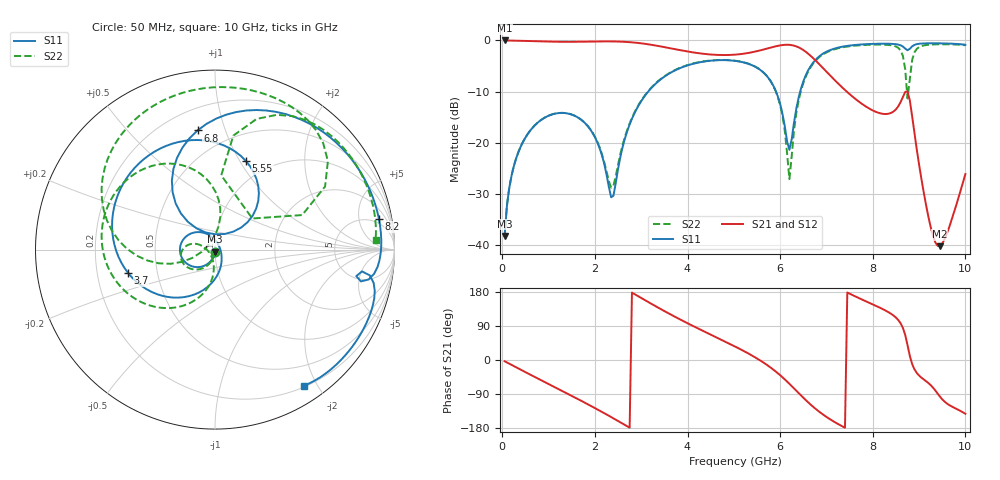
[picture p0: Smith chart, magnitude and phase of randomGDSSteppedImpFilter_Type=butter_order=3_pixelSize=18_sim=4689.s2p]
! freq	dB(S11)	phase(S11)	dB(S12)	phase(S12)
!  dB(S21)	phase(S21)	dB(S22)	phase(S22)
!S-par simulation data
#  GHz  S  DB  R 50
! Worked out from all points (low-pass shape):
!   200 points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, 50 MHz to 10 GHz, reference 50 ohm
!   highest |S21| = -0.01 dB at 50 MHz (marker M1); lowest = -40.2 dB at 9.45 GHz (marker M2)
!   |S21| within 3 dB of the highest: start of sweep to 6.657 GHz
!   lowest |S11| = -38.3 dB at 50 MHz (marker M3), VSWR 1.02, Z = 49.9 - j1.22 ohm
!   |S11| at or under -10 dB: start of sweep to 3.152 GHz; 5.909 GHz to 6.433 GHz (523.8 MHz wide, 8.49 % of centre)
!   |S22| runs from -38.3 to -0.7 dB; largest |S21 - S12| = 0
!   S11 on the Smith chart (normalised r, x): 50 MHz: 1.00, -0.02; 3.7 GHz: 0.34, -0.12; 5.55 GHz: 0.78, +1.06; 6.8 GHz: 0.33, +0.81; 8.2 GHz: 3.70, +9.28; 10 GHz: 0.22, -1.83
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0.05  -38.26 -92.4  -0.01 -3.3  -0.01 -3.3  -38.25 -91.8
0.2  -26.43 -103.9  -0.03 -12.9  -0.03 -12.9  -26.42 -101.7
0.55  -18.29 -128.6  -0.11 -35.2  -0.11 -35.2  -18.28 -122.7
1.75  -15.87 146.1  -0.25 -110.6  -0.25 -110.6  -15.84 172.7
2.35  -30.68 36.5  -0.19 -150.5  -0.19 -150.5  -28.80 -154.6
3.4  -7.76 -142.8  -1.14 135.8  -1.14 135.8  -7.69 -127.9
3.7  -5.99 -165.1  -1.66 115.9  -1.66 115.9  -5.93 -144.8
5.05  -4.03 105.5  -2.76 34.2  -2.76 34.2  -3.99 144.2
5.55  -5.63 70.7  -1.99 0.3  -1.99 0.3  -5.62 114.5
6  -12.44 40.1  -0.97 -40.1  -0.97 -40.1  -12.63 82.8
6.2  -21.40 88.3  -0.87 -62.8  -0.87 -62.8  -27.12 136.2
6.4  -11.14 133.3  -1.36 -87.3  -1.36 -87.3  -11.70 -162.3
6.7  -4.49 107.7  -3.36 -122.2  -3.36 -122.2  -4.68 169.7
6.8  -3.47 98.3  -4.24 -132.3  -4.24 -132.3  -3.63 160.4
7.45  -1.06 49.9  -10.11 178.0  -10.11 178.0  -1.20 113.3
8.2  -0.64 10.6  -14.34 135.2  -14.34 135.2  -0.82 71.2
8.35  -0.65 3.6  -14.32 125.4  -14.32 125.4  -0.89 61.7
8.65  -1.19 -11.0  -11.07 85.0  -11.07 85.0  -3.01 29.8
8.75  -1.93 -10.6  -9.96 39.6  -9.96 39.6  -11.35 39.8
8.95  -0.73 -14.5  -21.32 -34.1  -21.32 -34.1  -1.66 65.3
9.45  -0.57 -35.4  -40.25 -96.6  -40.25 -96.6  -0.75 30.5
10  -0.85 -56.8  -26.14 -142.0  -26.14 -142.0  -0.95 3.3
